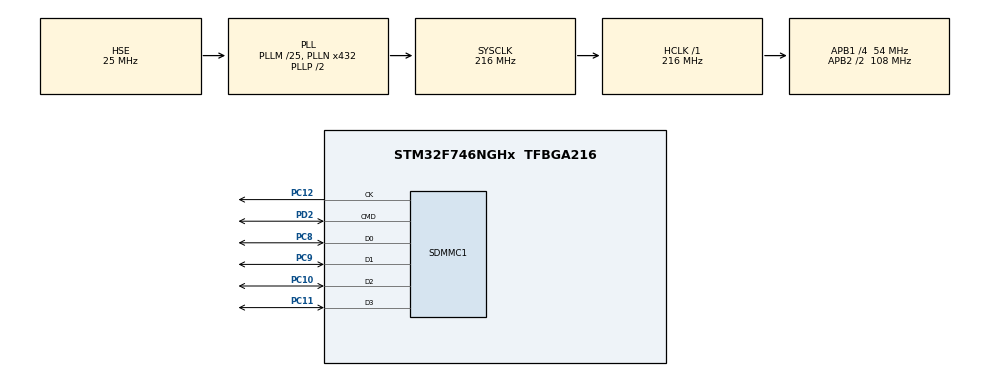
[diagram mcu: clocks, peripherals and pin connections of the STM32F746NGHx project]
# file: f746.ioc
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FATFS._USE_LFN=2
Mcu.Family=STM32F7
Mcu.Name=STM32F746NGHx
Mcu.Package=TFBGA216
NVIC.PriorityGroup=NVIC_PRIORITYGROUP_4
PA13.Mode=Serial_Wire
PA13.Signal=SYS_JTMS-SWDIO
PA14.Mode=Serial_Wire
PA14.Signal=SYS_JTCK-SWCLK
PC10.Mode=SD_4_bits_Wide_bus
PC10.Signal=SDMMC1_D2
PC11.Mode=SD_4_bits_Wide_bus
PC11.Signal=SDMMC1_D3
PC12.Mode=SD_4_bits_Wide_bus
PC12.Signal=SDMMC1_CK
PC8.Mode=SD_4_bits_Wide_bus
PC8.Signal=SDMMC1_D0
PC9.Mode=SD_4_bits_Wide_bus
PC9.Signal=SDMMC1_D1
PD2.Mode=SD_4_bits_Wide_bus
PD2.Signal=SDMMC1_CMD
PH0/OSC_IN.Mode=HSE-External-Oscillator
PH0/OSC_IN.Signal=RCC_OSC_IN
PH1/OSC_OUT.Mode=HSE-External-Oscillator
PH1/OSC_OUT.Signal=RCC_OSC_OUT
ProjectManager.HeapSize=0x200
ProjectManager.StackSize=0x400
ProjectManager.TargetToolchain=MDK-ARM V5
RCC.AHBFreq_Value=216000000
RCC.APB1CLKDivider=RCC_HCLK_DIV4
RCC.APB1Freq_Value=54000000
RCC.APB1TimFreq_Value=108000000
RCC.APB2CLKDivider=RCC_HCLK_DIV2
RCC.APB2Freq_Value=108000000
RCC.APB2TimFreq_Value=216000000
RCC.CortexFreq_Value=216000000
RCC.HCLKFreq_Value=216000000
RCC.HSE_VALUE=25000000
RCC.HSI_VALUE=16000000
RCC.LSE_VALUE=32768
RCC.PLLM=25
RCC.PLLN=432
RCC.PLLQ=9
RCC.PLLSourceVirtual=RCC_PLLSOURCE_HSE
RCC.SDMMCClockSelection=RCC_SDMMC1CLKSOURCE_CLK48
RCC.SYSCLKFreq_VALUE=216000000
RCC.SYSCLKSource=RCC_SYSCLKSOURCE_PLLCLK
RCC.USBFreq_Value=48000000
RCC.VCOOutputFreq_Value=432000000
VP_FATFS_VS_SDIO.Mode=SDIO
board=custom

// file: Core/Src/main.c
/* USER CODE BEGIN Header */
/**
  ******************************************************************************
  * @file           : main.c
  * @brief          : Main program body
  ******************************************************************************
  * @attention
  *
  * <h2><center>&copy; Copyright (c) 2019 STMicroelectronics.
  * All rights reserved.</center></h2>
  *
  * This software component is licensed by ST under Ultimate Liberty license
  * SLA0044, the "License"; You may not use this file except in compliance with
  * the License. You may obtain a copy of the License at:
  *                             www.st.com/SLA0044
  *
  ******************************************************************************
  */
/* USER CODE END Header */

#include "main.h"
#include "fatfs.h"
#include "sdmmc.h"
#include "gpio.h"

/* USER CODE BEGIN Includes */
#include <string.h>
/* USER CODE END Includes */

void SystemClock_Config(void);
static void CPU_CACHE_Enable(void);

/* USER CODE BEGIN 0 */
///////////////////////////////////////////////////
static int32_t fatfs_test(void)
{
#define FILE_NAME       "message.txt"
#define WRITE_TEXT      "hello fatfs 0123456789 +_<>"
#define WRITE_TEXT_LEN  strlen((WRITE_TEXT))

	static FATFS FatFs;
    FIL fil;
    char buffer[100];
    UINT br, bw;
    FRESULT res;

	if ((res = f_mount(&FatFs, "0:", 1)) != FR_OK) {
		/// printf("mount error! res=%d\n", res);
		return 1;
    }

    if ((res = f_open(&fil, FILE_NAME, FA_WRITE | FA_CREATE_ALWAYS)) != FR_OK) {
        /// printf("open error! res=%d\n", res);
        return 1;
    }
    /// printf("open successfully\n");

    if ((res = f_write(&fil, WRITE_TEXT, WRITE_TEXT_LEN, &bw)) != FR_OK) {
        /// printf("write error! res=%d\n", res);
        return 1;
    }
    /// printf("write successfully, wrote: %s\n", WRITE_TEXT);

    f_close(&fil);

    if ((res = f_open(&fil, FILE_NAME, FA_READ)) != FR_OK) {
        /// printf("open error! res=%d\n", res);
        return 1;
    }
    /// printf("open successfully\n");

    if ((res = f_read(&fil, buffer, sizeof(buffer), &br)) != FR_OK || br == 0
        || br > sizeof(buffer)) {
        /// printf("read error! res=%d\n", res);
        return 1;
    }
    buffer[br] = 0;
    /// printf("read successfully, read: %s\n", buffer);

    if (strcmp(WRITE_TEXT, buffer)) {
        /// printf("the read buffer is not equal to write buffer\n");
        return 1;
    }

    f_close(&fil);

    return 0;
}
///////////////////////////////////////////////////
/* USER CODE END 0 */

int main(void)
{
  /* USER CODE BEGIN 1 */
	int test_main(void);

	/* Enable the CPU Cache */
	CPU_CACHE_Enable();
  /* USER CODE END 1 */

  /* MCU Configuration--------------------------------------------------------*/

  /* Reset of all peripherals, Initializes the Flash interface and the Systick. */
  HAL_Init();

  /* Configure the system clock */
  SystemClock_Config();

  /* Initialize all configured peripherals */
  MX_GPIO_Init();
  MX_SDMMC1_SD_Init();
  MX_FATFS_Init();
  /* USER CODE BEGIN 2 */
  test_main();
  /// fatfs_test();
  /* USER CODE END 2 */

  /* Infinite loop */
  while (1)
  {

  }
}

void SystemClock_Config(void)
{
  RCC_OscInitTypeDef RCC_OscInitStruct = {0};
  RCC_ClkInitTypeDef RCC_ClkInitStruct = {0};
  RCC_PeriphCLKInitTypeDef PeriphClkInitStruct = {0};

  /** Configure the main internal regulator output voltage
  */
  __HAL_RCC_PWR_CLK_ENABLE();
  __HAL_PWR_VOLTAGESCALING_CONFIG(PWR_REGULATOR_VOLTAGE_SCALE1);
  /** Initializes the CPU, AHB and APB busses clocks
  */
  RCC_OscInitStruct.OscillatorType = RCC_OSCILLATORTYPE_HSE;
  RCC_OscInitStruct.HSEState = RCC_HSE_ON;
  RCC_OscInitStruct.PLL.PLLState = RCC_PLL_ON;
  RCC_OscInitStruct.PLL.PLLSource = RCC_PLLSOURCE_HSE;
  RCC_OscInitStruct.PLL.PLLM = 25;
  RCC_OscInitStruct.PLL.PLLN = 432;
  RCC_OscInitStruct.PLL.PLLP = RCC_PLLP_DIV2;
  RCC_OscInitStruct.PLL.PLLQ = 9;
  if (HAL_RCC_OscConfig(&RCC_OscInitStruct) != HAL_OK)
  {
    Error_Handler();
  }
  /** Activate the Over-Drive mode
  */
  if (HAL_PWREx_EnableOverDrive() != HAL_OK)
  {
    Error_Handler();
  }
  /** Initializes the CPU, AHB and APB busses clocks
  */
  RCC_ClkInitStruct.ClockType = RCC_CLOCKTYPE_HCLK|RCC_CLOCKTYPE_SYSCLK
                              |RCC_CLOCKTYPE_PCLK1|RCC_CLOCKTYPE_PCLK2;
  RCC_ClkInitStruct.SYSCLKSource = RCC_SYSCLKSOURCE_PLLCLK;
  RCC_ClkInitStruct.AHBCLKDivider = RCC_SYSCLK_DIV1;
  RCC_ClkInitStruct.APB1CLKDivider = RCC_HCLK_DIV4;
  RCC_ClkInitStruct.APB2CLKDivider = RCC_HCLK_DIV2;

  if (HAL_RCC_ClockConfig(&RCC_ClkInitStruct, FLASH_LATENCY_7) != HAL_OK)
  {
    Error_Handler();
  }
  PeriphClkInitStruct.PeriphClockSelection = RCC_PERIPHCLK_SDMMC1|RCC_PERIPHCLK_CLK48;
  PeriphClkInitStruct.Clk48ClockSelection = RCC_CLK48SOURCE_PLL;
  PeriphClkInitStruct.Sdmmc1ClockSelection = RCC_SDMMC1CLKSOURCE_CLK48;
  if (HAL_RCCEx_PeriphCLKConfig(&PeriphClkInitStruct) != HAL_OK)
  {
    Error_Handler();
  }
}

void Error_Handler(void)
{
}

/**
  * @brief  CPU L1-Cache enable.
  * @param  None
  * @retval None
  */
static void CPU_CACHE_Enable(void)
{
  /* Enable I-Cache */
  SCB_EnableICache();

  /* Enable D-Cache */
  SCB_EnableDCache();
}

/************************ (C) COPYRIGHT STMicroelectronics *****END OF FILE****/
